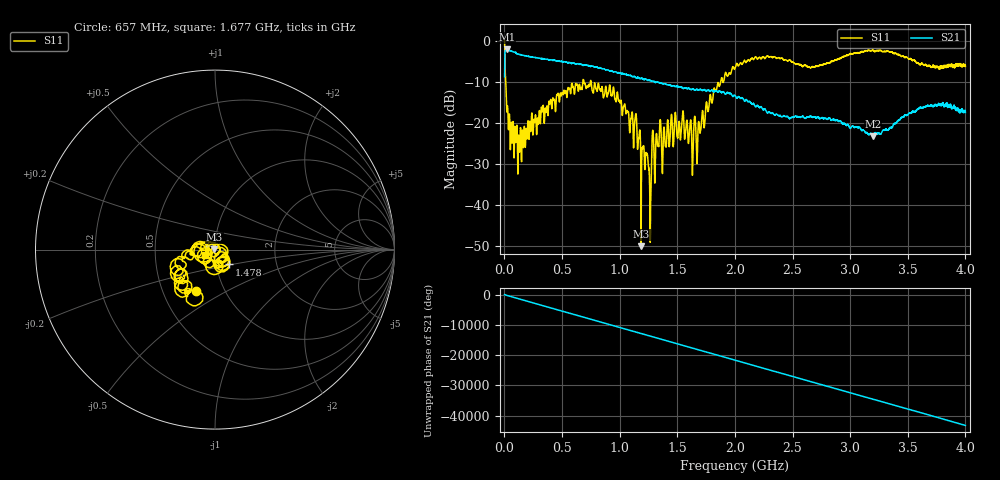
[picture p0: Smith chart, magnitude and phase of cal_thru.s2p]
!Created with skrf (http://scikit-rf.org).
# GHz S RI R 50.0
!freq ReS11 ImS11 ReS21 ImS21 ReS12 ImS12 ReS22 ImS22
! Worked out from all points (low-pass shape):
!   4000 points, 1 MHz to 4 GHz, reference 50 ohm
!   highest |S21| = -2.11 dB at 20 MHz (marker M1); lowest = -23.2 dB at 3.197 GHz (marker M2)
!   |S21| within 3 dB of the highest: 2.097 MHz to 484.5 MHz (482.4 MHz wide, 198 % of centre); 485.3 MHz to 496.6 MHz (11.25 MHz wide, 2.29 % of centre) (the widest 2 of 4)
!   lowest |S11| = -50.1 dB at 1.186 GHz (marker M3), VSWR 1.01, Z = 49.7 + j0.124 ohm
!   |S11| at or under -10 dB: 10.87 MHz to 680.1 MHz (669.3 MHz wide, 194 % of centre); 689.2 MHz to 745.5 MHz (56.29 MHz wide, 7.85 % of centre); 751.4 MHz to 1.877 GHz (1.126 GHz wide, 85.6 % of centre) (the widest 3 of 4)
!   S12 and S22 are empty: the file has one direction only
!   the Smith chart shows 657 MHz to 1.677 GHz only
!   S11 on the Smith chart (normalised r, x): 657 MHz: 0.73, -0.36; 1.478 GHz: 1.16, -0.19; 1.677 GHz: 0.89, -0.05
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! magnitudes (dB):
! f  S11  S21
! 1 MHz  0.0  -8.8
! 20 MHz  -17.4  -2.1
! 50 MHz  -25.7  -2.5
! 132 MHz  -26.8  -3.4
! 404 MHz  -14.6  -4.7
! 657 MHz  -11.8  -5.8
! 668 MHz  -11.5  -5.8
! 994 MHz  -14.5  -7.8
! 1.127 GHz  -20.9  -8.7
! 1.186 GHz  -50.1  -9.2
! 1.258 GHz  -33.7  -9.7
! 1.334 GHz  -25.6  -10.2
! 1.384 GHz  -21.1  -10.5
! 1.478 GHz  -18.8  -11.2
! 1.677 GHz  -24.2  -12.0
! 1.834 GHz  -12.2  -12.2
! 2.001 GHz  -6.7  -13.4
! 2.667 GHz  -6.3  -18.6
! 3.197 GHz  -2.4  -23.2
! 3.334 GHz  -2.7  -21.7
! 3.659 GHz  -6.0  -16.1
! 4 GHz  -6.3  -17.5
